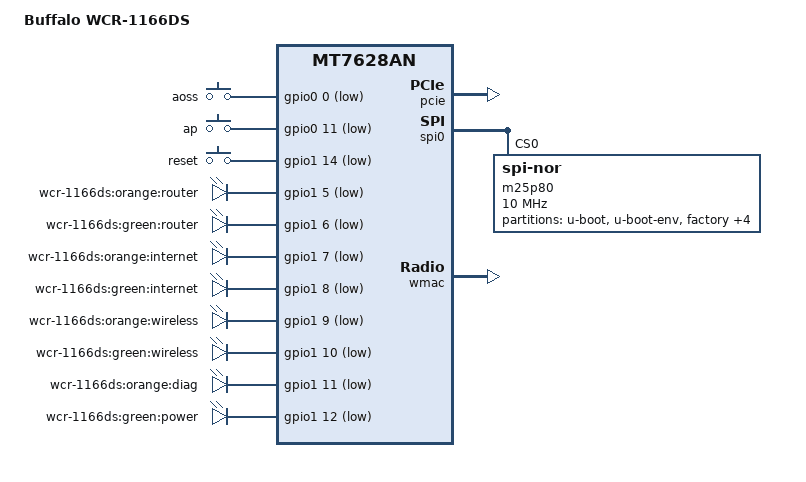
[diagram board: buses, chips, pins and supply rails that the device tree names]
/dts-v1/;

#include "mt7628an.dtsi"

#include <dt-bindings/gpio/gpio.h>
#include <dt-bindings/input/input.h>

/ {
	compatible = "buffalo,wcr-1166ds", "mediatek,mt7628an-soc";
	model = "Buffalo WCR-1166DS";

	aliases {
		led-boot = &led_power;
		led-failsafe = &led_power;
		led-running = &led_power;
		led-upgrade = &led_power;
	};

	keys {
		compatible = "gpio-keys-polled";
		poll-interval = <20>;

		aoss {
			label = "aoss";
			gpios = <&gpio0 0 GPIO_ACTIVE_LOW>;
			linux,code = <KEY_WPS_BUTTON>;
		};

		ap {
			label = "ap";
			gpios = <&gpio0 11 GPIO_ACTIVE_LOW>;
			linux,code = <BTN_0>;
			linux,input-type = <EV_SW>;
		};

		reset {
			label = "reset";
			gpios = <&gpio1 14 GPIO_ACTIVE_LOW>;
			linux,code = <KEY_RESTART>;
		};
	};

	leds {
		compatible = "gpio-leds";

		router_o {
			label = "wcr-1166ds:orange:router";
			gpios = <&gpio1 5 GPIO_ACTIVE_LOW>;
		};

		router_g {
			label = "wcr-1166ds:green:router";
			gpios = <&gpio1 6 GPIO_ACTIVE_LOW>;
		};

		internet_o {
			label = "wcr-1166ds:orange:internet";
			gpios = <&gpio1 7 GPIO_ACTIVE_LOW>;
		};

		internet_g {
			label = "wcr-1166ds:green:internet";
			gpios = <&gpio1 8 GPIO_ACTIVE_LOW>;
		};

		wireless_o {
			label = "wcr-1166ds:orange:wireless";
			gpios = <&gpio1 9 GPIO_ACTIVE_LOW>;
		};

		wireless_g {
			label = "wcr-1166ds:green:wireless";
			gpios = <&gpio1 10 GPIO_ACTIVE_LOW>;
		};

		diag {
			label = "wcr-1166ds:orange:diag";
			gpios = <&gpio1 11 GPIO_ACTIVE_LOW>;
		};

		led_power: power {
			label = "wcr-1166ds:green:power";
			gpios = <&gpio1 12 GPIO_ACTIVE_LOW>;
		};
	};
};

&ehci {
	status = "disabled";
};

&esw {
	mediatek,portmap = <0x2f>;
	mediatek,portdisable = <0x27>;
};

&ohci {
	status = "disabled";
};

&pcie {
	status = "okay";
};

&pcie0 {
	mt76@0,0 {
		reg = <0x0000 0 0 0 0>;
		mediatek,mtd-eeprom = <&factory 0x8000>;
		ieee80211-freq-limit = <5000000 6000000>;
	};
};

&pinctrl {
	state_default: pinctrl0 {
		gpio {
			ralink,group = "uart1", "wled_an", "p0led_an", "p1led_an", "p2led_an", "p3led_an", "p4led_an", "wdt", "refclk", "gpio", "i2s";
			ralink,function = "gpio";
		};
	};
};

&spi0 {
	status = "okay";

	m25p80@0 {
		compatible = "jedec,spi-nor";
		reg = <0>;
		spi-max-frequency = <10000000>;

		partitions {
			compatible = "fixed-partitions";
			#address-cells = <1>;
			#size-cells = <1>;

			partition@0 {
				label = "u-boot";
				reg = <0x0 0x30000>;
				read-only;
			};

			partition@30000 {
				label = "u-boot-env";
				reg = <0x30000 0x10000>;
				read-only;
			};

			factory: partition@40000 {
				label = "factory";
				reg = <0x40000 0x10000>;
				read-only;
			};

			partition@50000 {
				compatible = "openwrt,trx";
				label = "firmware";
				reg = <0x50000 0x7c0000>;
			};

			partition@810000 {
				label = "firmware2";
				reg = <0x810000 0x7c0000>;
			};

			partition@fd0000 {
				label = "glbcfg";
				reg = <0xfd0000 0x10000>;
				read-only;
			};

			partition@fe0000 {
				label = "board_data";
				reg = <0xfe0000 0x10000>;
				read-only;
			};
		};
	};
};

&wmac {
	status = "okay";
};
